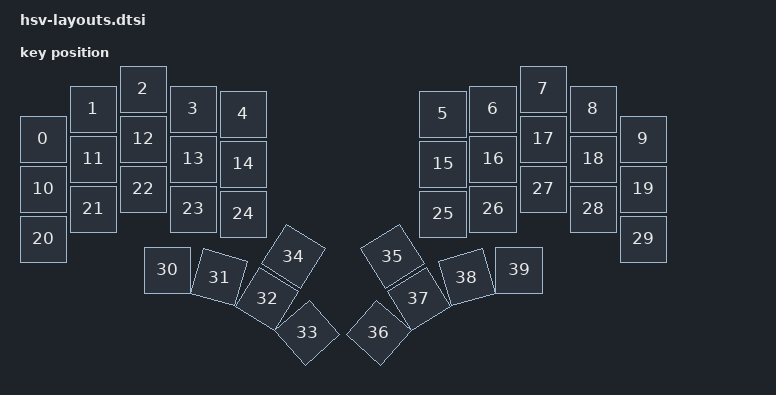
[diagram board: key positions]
#include <physical_layouts.dtsi>

/ {
    physical_layout0: physical_layout_0 {
        compatible = "zmk,physical-layout";
        display-name = "default";

        kscan = <&kscan0>;
        transform = <&matrix_transform0>;

        keys  //                     w   h    x    y     rot    rx    ry
            = <&key_physical_attrs 100 100    0  100       0     0     0>
            , <&key_physical_attrs 100 100  100   40       0     0     0>
            , <&key_physical_attrs 100 100  200    0       0     0     0>
            , <&key_physical_attrs 100 100  300   40       0     0     0>
            , <&key_physical_attrs 100 100  400   50       0     0     0>
            , <&key_physical_attrs 100 100  800   50       0     0     0>
            , <&key_physical_attrs 100 100  900   40       0     0     0>
            , <&key_physical_attrs 100 100 1000    0       0     0     0>
            , <&key_physical_attrs 100 100 1100   40       0     0     0>
            , <&key_physical_attrs 100 100 1200  100       0     0     0>
            , <&key_physical_attrs 100 100    0  200       0     0     0>
            , <&key_physical_attrs 100 100  100  140       0     0     0>
            , <&key_physical_attrs 100 100  200  100       0     0     0>
            , <&key_physical_attrs 100 100  300  140       0     0     0>
            , <&key_physical_attrs 100 100  400  150       0     0     0>
            , <&key_physical_attrs 100 100  800  150       0     0     0>
            , <&key_physical_attrs 100 100  900  140       0     0     0>
            , <&key_physical_attrs 100 100 1000  100       0     0     0>
            , <&key_physical_attrs 100 100 1100  140       0     0     0>
            , <&key_physical_attrs 100 100 1200  200       0     0     0>
            , <&key_physical_attrs 100 100    0  300       0     0     0>
            , <&key_physical_attrs 100 100  100  240       0     0     0>
            , <&key_physical_attrs 100 100  200  200       0     0     0>
            , <&key_physical_attrs 100 100  300  240       0     0     0>
            , <&key_physical_attrs 100 100  400  250       0     0     0>
            , <&key_physical_attrs 100 100  800  250       0     0     0>
            , <&key_physical_attrs 100 100  900  240       0     0     0>
            , <&key_physical_attrs 100 100 1000  200       0     0     0>
            , <&key_physical_attrs 100 100 1100  240       0     0     0>
            , <&key_physical_attrs 100 100 1200  300       0     0     0>
            , <&key_physical_attrs 100 100  248  362       0     0     0>
            , <&key_physical_attrs 100 100  248  362    1600   298   790>
            , <&key_physical_attrs 100 100  248  362    3200   298   790>
            , <&key_physical_attrs 100 100  248  362    4800   298   790>
            , <&key_physical_attrs 100 100  248  262    3200   298   790>
            , <&key_physical_attrs 100 100  952  262 (-3200)  1002   790>
            , <&key_physical_attrs 100 100  952  362 (-4800)  1002   790>
            , <&key_physical_attrs 100 100  952  362 (-3200)  1002   790>
            , <&key_physical_attrs 100 100  952  362 (-1600)  1002   790>
            , <&key_physical_attrs 100 100  952  362       0     0     0>
            ;
    };
};

